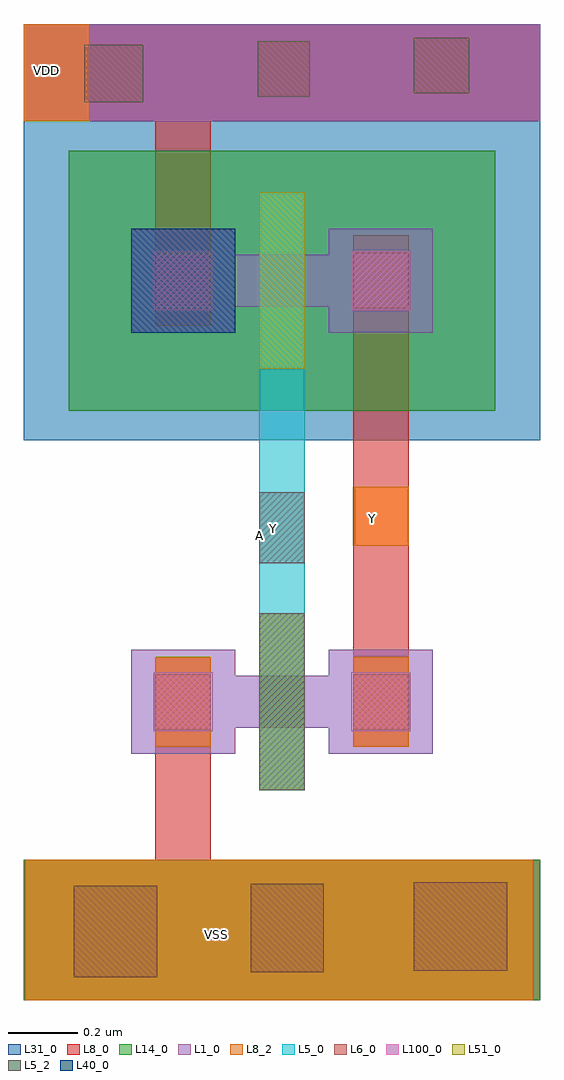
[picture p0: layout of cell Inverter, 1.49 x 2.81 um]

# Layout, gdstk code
from math import pi, radians
import gdstk
lib = gdstk.Library(unit=1e-6, precision=5e-09)
def R(c, l, rs):  # rectangles x0, y0, x1, y1
    for r in rs: c.add(gdstk.rectangle(r[:2], r[2:], *l))
L1_0 = (1, 0)
L5_0 = (5, 0)
L5_2 = (5, 2)
L6_0 = (6, 0)
L8_0 = (8, 0)
L8_2 = (8, 2)
L14_0 = (14, 0)
L31_0 = (31, 0)
L40_0 = (40, 0)
L51_0 = (51, 0)
L100_0 = (100, 0)

pmos = lib.new_cell('pmos')
R(pmos, L1_0, [(0,0,0.3,0.3), (0.57,0,0.87,0.3), (0,0.075,0.87,0.225)])
R(pmos, L5_0, [(0.37,-0.105,0.5,0.405), (0.37,-0.105,0.5,0.405)])
R(pmos, L6_0, [(0.07,0.07,0.23,0.23), (0.64,0.07,0.8,0.23)])
R(pmos, L8_0, [(0.07,0.02,0.23,0.28), (0.07,0.02,0.23,0.28), (0.64,0.02,0.8,0.28), (0.64,0.02,0.8,0.28)])
R(pmos, L14_0, [(-0.18,-0.225,1.05,0.525)])
R(pmos, L31_0, [(-0.31,-0.31,1.18,0.61)])
R(pmos, L40_0, [(0.57,0,0.87,0.3)])
R(pmos, L51_0, [(0.37,-0.105,0.5,0.405)])
pmos.add(gdstk.Label('pmos', (0.435,0.15), layer=63, texttype=0))
pmos.add(gdstk.Label('pmos', (0.435,0.15), layer=51, texttype=0))

nmos = lib.new_cell('nmos')
R(nmos, L1_0, [(0,0,0.3,0.3), (0.57,0,0.87,0.3), (0,0.075,0.87,0.225)])
R(nmos, L5_0, [(0.37,-0.105,0.5,0.405)])
R(nmos, L5_2, [(0.37,-0.105,0.5,0.405)])
R(nmos, L6_0, [(0.07,0.07,0.23,0.23), (0.64,0.07,0.8,0.23)])
R(nmos, L8_0, [(0.07,0.02,0.23,0.28), (0.64,0.02,0.8,0.28)])
R(nmos, L8_2, [(0.07,0.02,0.23,0.28), (0.64,0.02,0.8,0.28)])
R(nmos, L51_0, [(0.37,-0.105,0.5,0.405)])
nmos.add(gdstk.Label('nmos', (0.435,0.15), layer=63, texttype=0))
nmos.add(gdstk.Label('nmos', (0.435,0.15), layer=51, texttype=0))

inverter = lib.new_cell('Inverter')
R(inverter, L1_0, [(-0.78,0.93,0.71,1.21)])
R(inverter, L5_0, [(-0.1,-1,0.03,0.725)])
R(inverter, L5_2, [(-0.1,-0.345,0.03,-0.14)])
R(inverter, L6_0, [(-0.635,-1.54,-0.395,-1.275), (-0.125,-1.525,0.085,-1.27), (0.345,-1.52,0.615,-1.265), (-0.605,0.985,-0.435,1.15), (-0.105,1,0.045,1.16), (0.345,1.01,0.505,1.17)])
R(inverter, L8_0, [(-0.78,-1.605,0.71,-1.2), (-0.4,-1.345,-0.24,-0.615), (0.17,-0.875,0.33,0.6), (-0.4,0.34,-0.24,1.21), (-0.78,0.93,0.71,1.21)])
R(inverter, L8_2, [(-0.775,-1.605,0.69,-1.2), (0.175,-0.295,0.33,-0.125), (-0.78,0.93,-0.59,1.21)])
R(inverter, L14_0, [(-0.78,-1.605,0.71,-1.2)])
R(inverter, L31_0, [(-0.78,0.93,0.71,1.21)])
R(inverter, L100_0, [(-0.405,-0.83,-0.235,-0.66), (-0.405,-0.83,-0.235,-0.66), (0.165,-0.83,0.335,-0.66), (0.165,-0.83,0.335,-0.66), (-0.405,0.385,-0.235,0.555), (-0.405,0.385,-0.235,0.555), (0.165,0.385,0.335,0.555), (0.165,0.385,0.335,0.555)])
inverter.add(gdstk.Reference(pmos, (0.4,0.62), rotation=pi))
inverter.add(gdstk.Reference(nmos, (0.4,-0.595), rotation=pi))
inverter.add(gdstk.Label('VSS', (-0.225,-1.415), layer=8, texttype=0))
inverter.add(gdstk.Label('Y', (0.225,-0.215), layer=8, texttype=2))
inverter.add(gdstk.Label('VDD', (-0.715,1.075), layer=8, texttype=2))
inverter.add(gdstk.Label('Y', (-0.06,-0.245), layer=5, texttype=2))
inverter.add(gdstk.Label('A', (-0.1,-0.265), layer=5, texttype=2))

lib.write_gds('Inverter.gds')
